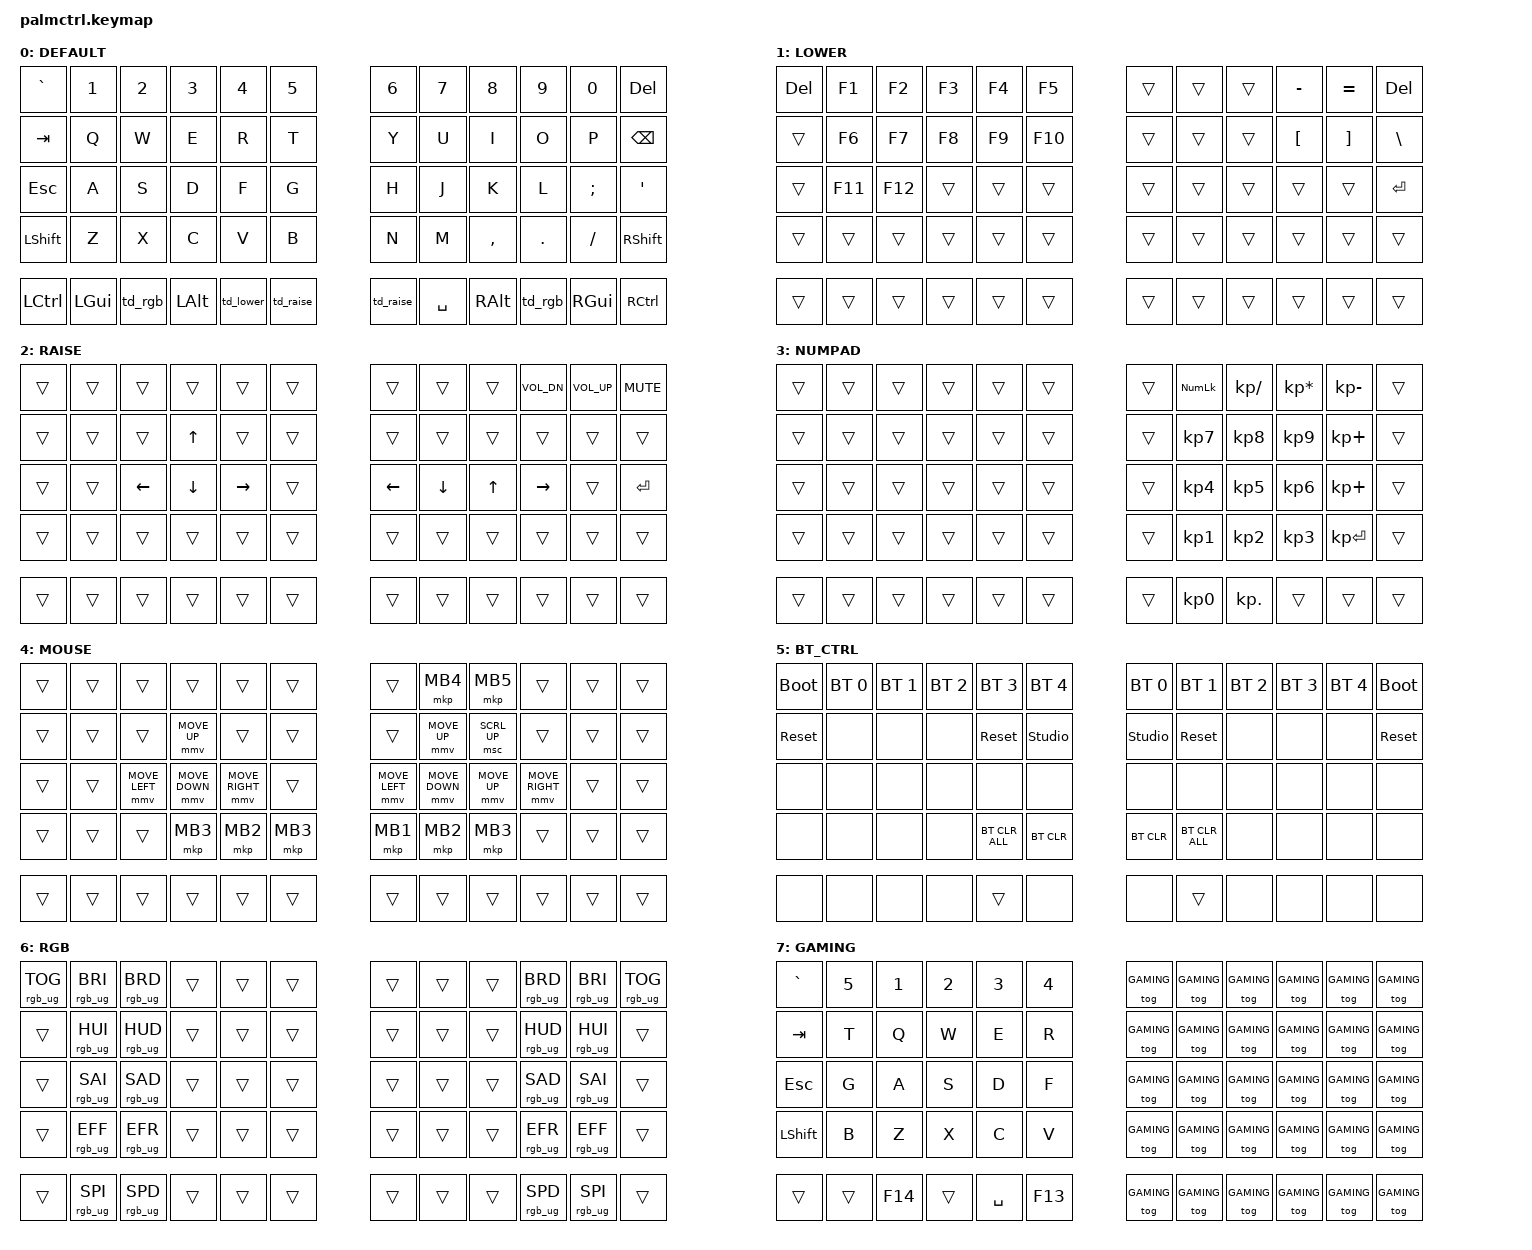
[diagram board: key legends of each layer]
#include <behaviors.dtsi>
#include <dt-bindings/zmk/keys.h>
#include <dt-bindings/zmk/bt.h>
#include <dt-bindings/zmk/outputs.h>
#include <dt-bindings/zmk/pointing.h>
#include <dt-bindings/zmk/rgb.h>
#include <input/processors.dtsi>

#define DEFAULT     0
#define LOWER       1
#define RAISE       2
#define NUMPAD      3
#define MOUSE       4
#define BT_CTRL     5
#define RGB_CTRL    6
#define GAMING      7

#define TAP_TERM_MS 200

/ {
    behaviors {
        td_lower: tap_dance_lower {
            compatible = "zmk,behavior-tap-dance";
            #binding-cells = <0>;
            tapping-term-ms = <TAP_TERM_MS>;
            bindings = <&mo LOWER>, <&mo MOUSE>;
        };

        td_raise: tap_dance_raise {
            compatible = "zmk,behavior-tap-dance";
            #binding-cells = <0>;
            tapping-term-ms = <TAP_TERM_MS>;
            bindings = <&mo RAISE>, <&mo NUMPAD>, <&sl BT_CTRL>;
        };

        td_rgb: tap_dance_rgb {
            compatible = "zmk,behavior-tap-dance";
            #binding-cells = <0>;
            tapping-term-ms = <TAP_TERM_MS>;
            bindings = <&none>, <&mo RGB_CTRL>;
        };

    };

    combos {
        compatible = "zmk,combos";
        combo_gaming {
            timeout-ms = <50>;
            key-positions = <49 53>;
            bindings = <&tog GAMING>;
            layers = <DEFAULT GAMING>;
        };
    };

    zmk,meta {
        layers = <DEFAULT LOWER RAISE NUMPAD MOUSE BT_CTRL RGB_CTRL GAMING>;
    };

    keymap {
        compatible = "zmk,keymap";

        default_layer {
            display-name = "DEFAULT";
            bindings = <
                &kp GRAVE  &kp N1   &kp N2   &kp N3    &kp N4    &kp N5                                   &kp N6     &kp N7     &kp N8     &kp N9    &kp N0    &kp DEL
                &kp TAB    &kp Q    &kp W    &kp E     &kp R     &kp T                                    &kp Y      &kp U      &kp I      &kp O     &kp P     &kp BSPC
                &kp ESC    &kp A    &kp S    &kp D     &kp F     &kp G                                    &kp H      &kp J      &kp K      &kp L     &kp SEMI  &kp SQT
                &kp LSHFT  &kp Z    &kp X    &kp C     &kp V     &kp B                                    &kp N      &kp M      &kp COMMA  &kp DOT   &kp FSLH  &kp RSHFT

                &kp LCTRL  &kp LGUI &td_rgb         &kp LALT  &td_lower &td_raise                             &td_raise  &kp SPACE  &kp RALT   &td_rgb         &kp RGUI  &kp RCTRL
            >;
        };

        lower_layer {
            display-name = "LOWER";
            bindings = <
                &kp DEL    &kp F1   &kp F2   &kp F3   &kp F4   &kp F5                                    &trans     &trans     &trans     &kp MINUS &kp EQUAL &kp DEL
                &trans     &kp F6   &kp F7   &kp F8   &kp F9   &kp F10                                   &trans     &trans     &trans     &kp LBKT  &kp RBKT  &kp BSLH 
                &trans     &kp F11  &kp F12  &trans   &trans   &trans                                    &trans     &trans     &trans     &trans    &trans    &kp RET
                &trans     &trans   &trans   &trans   &trans   &trans                                    &trans     &trans     &trans     &trans    &trans    &trans

                &trans     &trans   &trans   &trans   &trans   &trans                                    &trans     &trans     &trans     &trans    &trans    &trans
            >;
        };

        raise_layer {
            display-name = "RAISE";
            bindings = <
                &trans     &trans    &trans    &trans   &trans    &trans                                  &trans     &trans     &trans     &kp C_VOL_DN &kp C_VOL_UP &kp C_MUTE
                &trans     &trans    &trans    &kp UP   &trans    &trans                                  &trans     &trans     &trans     &trans       &trans       &trans
                &trans     &trans    &kp LEFT  &kp DOWN &kp RIGHT &trans                                  &kp LEFT   &kp DOWN   &kp UP     &kp RIGHT    &trans       &kp RET
                &trans     &trans    &trans    &trans   &trans    &trans                                  &trans     &trans     &trans     &trans       &trans       &trans

                &trans     &trans    &trans    &trans   &trans    &trans                                  &trans     &trans     &trans     &trans       &trans       &trans
            >;
        };

        numpad_layer {
            display-name = "NUMPAD";
            bindings = <
                &trans     &trans   &trans   &trans   &trans   &trans                                    &trans     &kp KP_NLCK &kp KP_SLASH &kp KP_ASTERISK &kp KP_MINUS &trans
                &trans     &trans   &trans   &trans   &trans   &trans                                    &trans     &kp KP_N7   &kp KP_N8    &kp KP_N9       &kp KP_PLUS  &trans
                &trans     &trans   &trans   &trans   &trans   &trans                                    &trans     &kp KP_N4   &kp KP_N5    &kp KP_N6       &kp KP_PLUS  &trans
                &trans     &trans   &trans   &trans   &trans   &trans                                    &trans     &kp KP_N1   &kp KP_N2    &kp KP_N3       &kp KP_ENTER &trans

                &trans     &trans   &trans   &trans   &trans   &trans                                    &trans     &kp KP_N0   &kp KP_DOT   &trans          &trans       &trans
            >;
        };

        mouse_layer {
            display-name = "MOUSE";
            bindings = <
                &trans  &trans  &trans         &trans         &trans          &trans                      &trans         &mkp MB4       &mkp MB5      &trans          &trans    &trans
                &trans  &trans  &trans         &mmv MOVE_UP   &trans          &trans                      &trans         &mmv MOVE_UP   &msc SCRL_UP  &trans          &trans    &trans
                &trans  &trans  &mmv MOVE_LEFT &mmv MOVE_DOWN &mmv MOVE_RIGHT &trans                      &mmv MOVE_LEFT &mmv MOVE_DOWN &mmv MOVE_UP  &mmv MOVE_RIGHT &trans    &trans
                &trans  &trans  &trans         &mkp MB3       &mkp MB2        &mkp MB3                    &mkp MB1       &mkp MB2       &mkp MB3      &trans          &trans    &trans

                &trans  &trans  &trans         &trans         &trans          &trans                      &trans         &trans         &trans        &trans          &trans    &trans
            >;
        };

        bt_ctrl_layer {
            display-name = "BT_CTRL";
            bindings = <
                &bootloader &bt BT_SEL 0 &bt BT_SEL 1 &bt BT_SEL 2 &bt BT_SEL 3   &bt BT_SEL 4            &bt BT_SEL 0 &bt BT_SEL 1   &bt BT_SEL 2 &bt BT_SEL 3 &bt BT_SEL 4 &bootloader
                &sys_reset  &none        &none        &none        &sys_reset     &studio_unlock          &studio_unlock &sys_reset   &none        &none        &none        &sys_reset
                &none       &none        &none        &none        &none          &none                   &none        &none          &none        &none        &none        &none
                &none       &none        &none        &none        &bt BT_CLR_ALL &bt BT_CLR              &bt BT_CLR   &bt BT_CLR_ALL &none        &none        &none        &none

                &none       &none        &none        &none        &trans         &none                   &none        &trans         &none        &none        &none        &none
            >;
        };

        rgb_ctrl_layer {
            display-name = "RGB";
            bindings = <
                // Mirrored on both sides - BRD/BRI/TOG pattern like volume controls
                &rgb_ug RGB_TOG &rgb_ug RGB_BRI &rgb_ug RGB_BRD &trans          &trans          &trans              &trans          &trans          &trans          &rgb_ug RGB_BRD &rgb_ug RGB_BRI &rgb_ug RGB_TOG
                &trans          &rgb_ug RGB_HUI &rgb_ug RGB_HUD &trans          &trans          &trans              &trans          &trans          &trans          &rgb_ug RGB_HUD &rgb_ug RGB_HUI &trans
                &trans          &rgb_ug RGB_SAI &rgb_ug RGB_SAD &trans          &trans          &trans              &trans          &trans          &trans          &rgb_ug RGB_SAD &rgb_ug RGB_SAI &trans
                &trans          &rgb_ug RGB_EFF &rgb_ug RGB_EFR &trans          &trans          &trans              &trans          &trans          &trans          &rgb_ug RGB_EFR &rgb_ug RGB_EFF &trans

                &trans          &rgb_ug RGB_SPI &rgb_ug RGB_SPD &trans          &trans          &trans              &trans          &trans          &trans          &rgb_ug RGB_SPD &rgb_ug RGB_SPI &trans
            >;
        };
        gaming_layer {
            display-name = "GAMING";
            bindings = <
                // Rows 0-3: left cols shifted right by 1, col 5 wraps to col 1 (ESDF = WASD)
                &kp GRAVE  &kp N5  &kp N1  &kp N2  &kp N3  &kp N4      &tog GAMING  &tog GAMING  &tog GAMING  &tog GAMING  &tog GAMING  &tog GAMING
                &kp TAB    &kp T   &kp Q   &kp W   &kp E   &kp R       &tog GAMING  &tog GAMING  &tog GAMING  &tog GAMING  &tog GAMING  &tog GAMING
                &kp ESC    &kp G   &kp A   &kp S   &kp D   &kp F       &tog GAMING  &tog GAMING  &tog GAMING  &tog GAMING  &tog GAMING  &tog GAMING
                &kp LSHFT  &kp B   &kp Z   &kp X   &kp C   &kp V       &tog GAMING  &tog GAMING  &tog GAMING  &tog GAMING  &tog GAMING  &tog GAMING

                // Row 4: thumb row - custom gaming remaps, exit gaming right
                &trans  &trans  &kp F14  &trans  &kp SPACE  &kp F13      &tog GAMING  &tog GAMING  &tog GAMING  &tog GAMING  &tog GAMING  &tog GAMING
            >;
        };
    };
};
